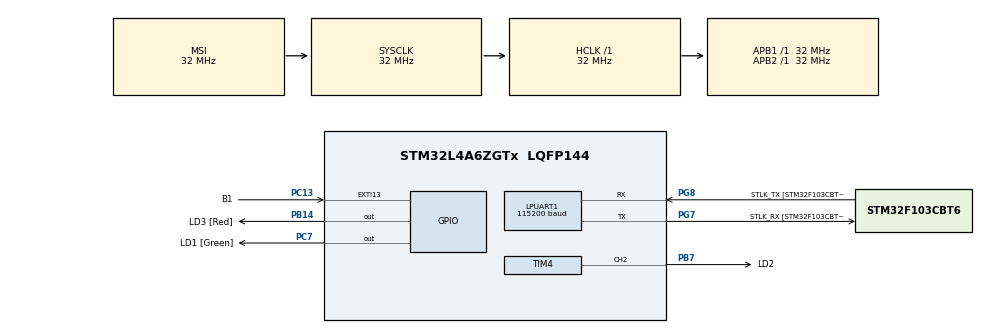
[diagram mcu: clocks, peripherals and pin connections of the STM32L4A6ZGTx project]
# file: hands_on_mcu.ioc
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LPUART1.AutoBaudRateEnableParam=UART_ADVFEATURE_AUTOBAUDRATE_DISABLE
LPUART1.BaudRate=115200
LPUART1.DMADisableonRxErrorParam=UART_ADVFEATURE_DMA_ENABLEONRXERROR
LPUART1.DataInvertParam=UART_ADVFEATURE_DATAINV_DISABLE
LPUART1.MSBFirstParam=UART_ADVFEATURE_MSBFIRST_DISABLE
LPUART1.Mode=UART_MODE_TX_RX
LPUART1.OneBitSampling=UART_ONE_BIT_SAMPLE_DISABLE
LPUART1.OverrunDisableParam=UART_ADVFEATURE_OVERRUN_ENABLE
LPUART1.Parity=UART_PARITY_NONE
LPUART1.RxPinLevelInvertParam=UART_ADVFEATURE_RXINV_DISABLE
LPUART1.StopBits=UART_STOPBITS_1
LPUART1.SwapParam=UART_ADVFEATURE_SWAP_DISABLE
LPUART1.TxPinLevelInvertParam=UART_ADVFEATURE_TXINV_DISABLE
LPUART1.WordLength=UART_WORDLENGTH_8B
Mcu.Family=STM32L4
Mcu.Name=STM32L4A6ZGTx
Mcu.Package=LQFP144
NVIC.EXTI15_10_IRQn=true\:0\:0\:false\:false\:true\:true\:true\:true
NVIC.PriorityGroup=NVIC_PRIORITYGROUP_4
PA13\ (JTMS/SWDIO).GPIO_Label=TMS
PA13\ (JTMS/SWDIO).Mode=Trace_Asynchronous_SW
PA13\ (JTMS/SWDIO).Signal=SYS_JTMS-SWDIO
PA14\ (JTCK/SWCLK).GPIO_Label=TCK
PA14\ (JTCK/SWCLK).Mode=Trace_Asynchronous_SW
PA14\ (JTCK/SWCLK).Signal=SYS_JTCK-SWCLK
PB14.GPIO_Label=LD3 [Red]
PB14.Signal=GPIO_Output
PB3\ (JTDO/TRACESWO).GPIO_Label=SWO
PB3\ (JTDO/TRACESWO).Mode=Trace_Asynchronous_SW
PB3\ (JTDO/TRACESWO).Signal=SYS_JTDO-SWO
PB7.GPIO_Label=LD2
PB7.Signal=S_TIM4_CH2
PC13.GPIO_Label=B1
PC13.Signal=GPXTI13
PC14-OSC32_IN\ (PC14).Mode=LSE-External-Oscillator
PC14-OSC32_IN\ (PC14).Signal=RCC_OSC32_IN
PC15-OSC32_OUT\ (PC15).Mode=LSE-External-Oscillator
PC15-OSC32_OUT\ (PC15).Signal=RCC_OSC32_OUT
PC7.GPIO_Label=LD1 [Green]
PC7.Signal=GPIO_Output
PG7.GPIO_Label=STLK_RX [STM32F103CBT6_PA3]
PG7.Mode=Asynchronous
PG7.Signal=LPUART1_TX
PG8.GPIO_Label=STLK_TX [STM32F103CBT6_PA2]
PG8.Mode=Asynchronous
PG8.Signal=LPUART1_RX
PH1-OSC_OUT\ (PH1).Signal=RCC_OSC_OUT
ProjectManager.HeapSize=0x200
ProjectManager.StackSize=0x400
ProjectManager.TargetToolchain=STM32CubeIDE
RCC.ADCFreq_Value=384000000
RCC.AHBFreq_Value=32000000
RCC.APB1Freq_Value=32000000
RCC.APB1TimFreq_Value=32000000
RCC.APB2Freq_Value=32000000
RCC.APB2TimFreq_Value=32000000
RCC.CortexFreq_Value=32000000
RCC.FLatency=FLASH_LATENCY_1
RCC.HCLKFreq_Value=32000000
RCC.HSE_VALUE=8000000
RCC.HSI48_VALUE=48000000
RCC.HSI_VALUE=16000000
RCC.MSIClockRange=RCC_MSIRANGE_10
RCC.MSI_VALUE=32000000
RCC.PLLN=71
RCC.PLLR=RCC_PLLR_DIV6
RCC.PLLSAI1N=24
RCC.SYSCLKFreq_VALUE=32000000
RCC.USBFreq_Value=384000000
RCC.VCOOutputFreq_Value=2272000000
SH.S_TIM4_CH2.0=TIM4_CH2,Output Compare2 CH2
TIM4.Channel-Output\ Compare2\ CH2=TIM_CHANNEL_2
TIM4.OCMode_2=TIM_OCMODE_TOGGLE
TIM4.Period=499
TIM4.Prescaler=31199
VP_TIM4_VS_ClockSourceINT.Mode=Internal
board=NUCLEO-L4A6ZG

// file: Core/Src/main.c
/* USER CODE BEGIN Header */
/**
  **************************
  * @file           : main.c
  * @brief          : Main program body
  **************************
  * @attention
  *
  * <h2><center>&copy; Copyright (c) 2021 STMicroelectronics.
  * All rights reserved.</center></h2>
  *
  * This software component is licensed by ST under BSD 3-Clause license,
  * the "License"; You may not use this file except in compliance with the
  * License. You may obtain a copy of the License at:
  *                        opensource.org/licenses/BSD-3-Clause
  *
  **************************
  */
/* USER CODE END Header */
#include "main.h"
#include "usart.h"
#include "tim.h"
#include "gpio.h"

/* USER CODE BEGIN Includes */
#include <stdio.h>
#include "retarget.h"
int led_state = 1;
int neuneu = 0;
int papy = 0;
int blutch = 0;
/* USER CODE END Includes */

void SystemClock_Config(void);

int main(void)
{

  /* MCU Configuration--------------------------------------------------------*/

  /* Reset of all peripherals, Initializes the Flash interface and the Systick. */
  HAL_Init();

  /* Configure the system clock */
  SystemClock_Config();

  /* Initialize all configured peripherals */
  MX_GPIO_Init();
  MX_LPUART1_UART_Init();
  MX_TIM4_Init();
  /* USER CODE BEGIN 2 */
  RetargetInit(&hlpuart1);
  printf("Hello world!\r\n");

  /* USER CODE END 2 */

  /* Infinite loop */
  /* USER CODE BEGIN WHILE */

  while (1)
  {

	  if (led_state) {

		  HAL_TIM_OC_Start(&htim4, TIM_CHANNEL_2);
		  HAL_TIM_OC_Stop(&htim4, TIM_CHANNEL_2);
	  }

	  if (neuneu) {
		  //HAL_GPIO_WritePin(LD2_GPIO_Port, LD2_Pin, GPIO_PIN_SET);
		  HAL_Delay(500);
		  //HAL_GPIO_WritePin(LD2_GPIO_Port, LD2_Pin, GPIO_PIN_RESET);
		  HAL_Delay(500);
	  }

	  if (papy) {
		  HAL_Delay(2000);
	  }

	  if (blutch) {
		  __WFI();
	  }

    /* USER CODE END WHILE */

  }
}

void SystemClock_Config(void)
{
  RCC_OscInitTypeDef RCC_OscInitStruct = {0};
  RCC_ClkInitTypeDef RCC_ClkInitStruct = {0};

  /** Configure the main internal regulator output voltage
  */
  if (HAL_PWREx_ControlVoltageScaling(PWR_REGULATOR_VOLTAGE_SCALE1) != HAL_OK)
  {
    Error_Handler();
  }

  /** Initializes the RCC Oscillators according to the specified parameters
  * in the RCC_OscInitTypeDef structure.
  */
  RCC_OscInitStruct.OscillatorType = RCC_OSCILLATORTYPE_MSI;
  RCC_OscInitStruct.MSIState = RCC_MSI_ON;
  RCC_OscInitStruct.MSICalibrationValue = 0;
  RCC_OscInitStruct.MSIClockRange = RCC_MSIRANGE_10;
  RCC_OscInitStruct.PLL.PLLState = RCC_PLL_NONE;
  if (HAL_RCC_OscConfig(&RCC_OscInitStruct) != HAL_OK)
  {
    Error_Handler();
  }

  /** Initializes the CPU, AHB and APB buses clocks
  */
  RCC_ClkInitStruct.ClockType = RCC_CLOCKTYPE_HCLK|RCC_CLOCKTYPE_SYSCLK
                              |RCC_CLOCKTYPE_PCLK1|RCC_CLOCKTYPE_PCLK2;
  RCC_ClkInitStruct.SYSCLKSource = RCC_SYSCLKSOURCE_MSI;
  RCC_ClkInitStruct.AHBCLKDivider = RCC_SYSCLK_DIV1;
  RCC_ClkInitStruct.APB1CLKDivider = RCC_HCLK_DIV1;
  RCC_ClkInitStruct.APB2CLKDivider = RCC_HCLK_DIV1;

  if (HAL_RCC_ClockConfig(&RCC_ClkInitStruct, FLASH_LATENCY_1) != HAL_OK)
  {
    Error_Handler();
  }
}

void Error_Handler(void)
{
  __disable_irq();
  while (1)
  {
  }
}
